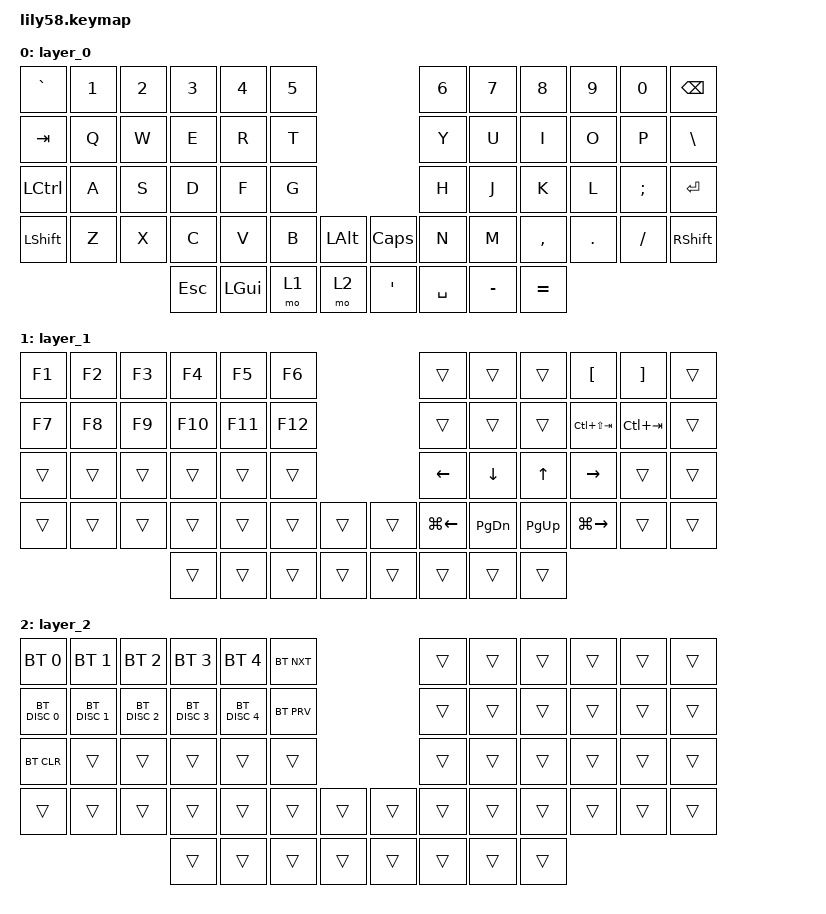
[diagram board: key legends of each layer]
#include <behaviors.dtsi>
#include <dt-bindings/zmk/bt.h>
#include <dt-bindings/zmk/keys.h>

/ {
    keymap {
        compatible = "zmk,keymap";

        layer_0 {
            bindings = <
&kp GRAVE  &kp N1  &kp N2  &kp N3   &kp N4    &kp N5                                &kp N6     &kp N7     &kp N8     &kp N9   &kp N0    &kp BSPC
&kp TAB    &kp Q   &kp W   &kp E    &kp R     &kp T                                 &kp Y      &kp U      &kp I      &kp O    &kp P     &kp BSLH
&kp LCTRL  &kp A   &kp S   &kp D    &kp F     &kp G                                 &kp H      &kp J      &kp K      &kp L    &kp SEMI  &kp ENTER
&kp LSHFT  &kp Z   &kp X   &kp C    &kp V     &kp B   &kp LEFT_ALT    &kp CAPSLOCK  &kp N      &kp M      &kp COMMA  &kp DOT  &kp FSLH  &kp RSHFT
                           &kp ESC  &kp LGUI  &mo 1   &mo 2           &kp APOS      &kp SPACE  &kp MINUS  &kp EQUAL
            >;
        };

        layer_1 {
            bindings = <
&kp F1  &kp F2  &kp F3  &kp F4   &kp F5   &kp F6                     &trans        &trans         &trans        &kp LBKT         &kp RBKT     &trans
&kp F7  &kp F8  &kp F9  &kp F10  &kp F11  &kp F12                    &trans        &trans         &trans        &kp LC(LS(TAB))  &kp LC(TAB)  &trans
&trans  &trans  &trans  &trans   &trans   &trans                     &kp LEFT      &kp DOWN       &kp UP_ARROW  &kp RIGHT        &trans       &trans
&trans  &trans  &trans  &trans   &trans   &trans   &trans    &trans  &kp LG(LEFT)  &kp PAGE_DOWN  &kp PAGE_UP   &kp LG(RIGHT)    &trans       &trans
                        &trans   &trans   &trans   &trans    &trans  &trans        &trans         &trans
            >;
        };

        layer_2 {
            bindings = <
&bt BT_SEL 0   &bt BT_SEL 1   &bt BT_SEL 2   &bt BT_SEL 3   &bt BT_SEL 4   &bt BT_NXT                    &trans  &trans  &trans  &trans  &trans  &trans
&bt BT_DISC 0  &bt BT_DISC 1  &bt BT_DISC 2  &bt BT_DISC 3  &bt BT_DISC 4  &bt BT_PRV                    &trans  &trans  &trans  &trans  &trans  &trans
&bt BT_CLR     &trans         &trans         &trans         &trans         &trans                        &trans  &trans  &trans  &trans  &trans  &trans
&trans         &trans         &trans         &trans         &trans         &trans      &trans    &trans  &trans  &trans  &trans  &trans  &trans  &trans
                                             &trans         &trans         &trans      &trans    &trans  &trans  &trans  &trans
            >;
        };
    };
};
